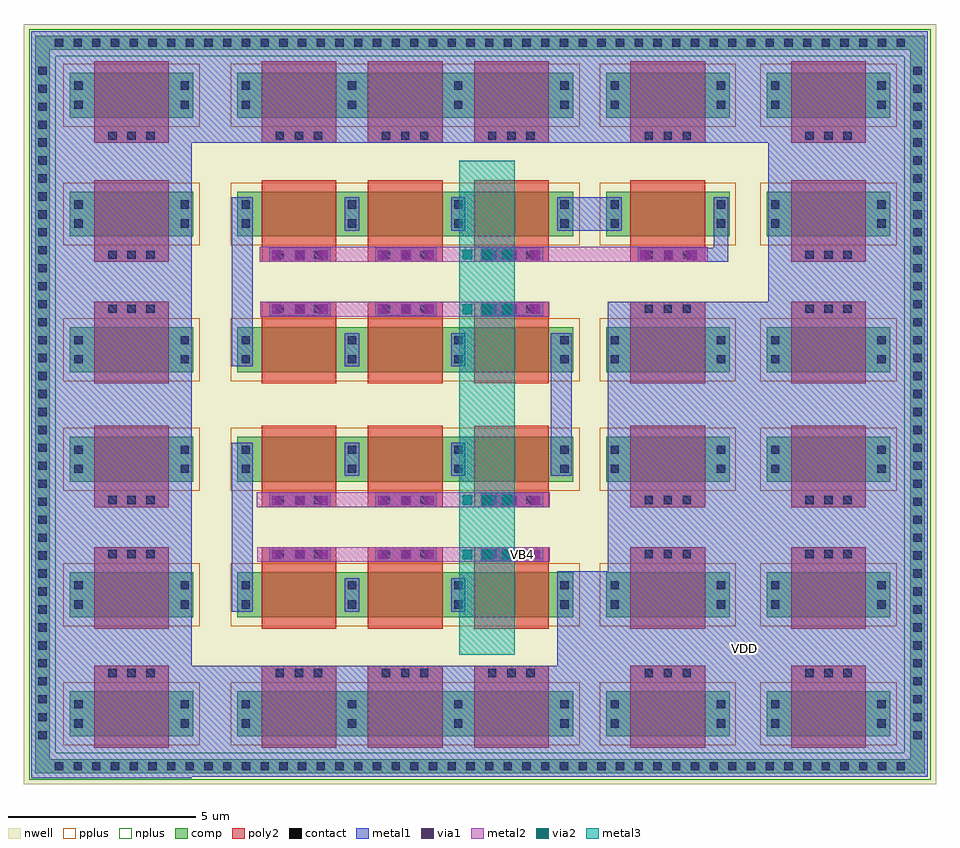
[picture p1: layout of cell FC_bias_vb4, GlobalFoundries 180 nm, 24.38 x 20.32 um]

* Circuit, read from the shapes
.subckt FC_bias_vb4 VB4 VDD
XM1 VDD VDD VDD VDD pfet_03v3 w=1.2u l=2u m=23
XM2 n1 VB4 n2 VDD pfet_03v3 w=1.2u l=2u
XM3 n3 VB4 n2 VDD pfet_03v3 w=1.2u l=2u
XM4 n4 VB4 n5 VDD pfet_03v3 w=1.2u l=2u
XM5 n6 VB4 n5 VDD pfet_03v3 w=1.2u l=2u
XM6 n7 VB4 n1 VDD pfet_03v3 w=1.2u l=2u
XM7 n8 VB4 n3 VDD pfet_03v3 w=1.2u l=2u
XM8 n9 VB4 n4 VDD pfet_03v3 w=1.2u l=2u
XM9 n10 VB4 n6 VDD pfet_03v3 w=1.2u l=2u
XM10 VDD VB4 n7 VDD pfet_03v3 w=1.2u l=2u
XM11 n11 VB4 n8 VDD pfet_03v3 w=1.2u l=2u
XM12 n11 VB4 n9 VDD pfet_03v3 w=1.2u l=2u
XM13 n12 VB4 n10 VDD pfet_03v3 w=1.2u l=2u
XM14 VB4 VB4 n12 VDD pfet_03v3 w=1.2u l=2u
.ends

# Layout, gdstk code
from math import pi, radians
import gdstk
lib = gdstk.Library(unit=1e-6, precision=1e-09)
def R(c, l, rs):  # rectangles x0, y0, x1, y1
    for r in rs: c.add(gdstk.rectangle(r[:2], r[2:], *l))
def A(c, l, x, y, w, h, nx, ny, dx, dy):  # array of equal rectangles
    R(c, l, [(x+i*dx, y+j*dy, x+i*dx+w, y+j*dy+h) for i in range(nx) for j in range(ny)])
nwell = (21, 0)
comp = (22, 0)
poly2 = (30, 0)
pplus = (31, 0)
nplus = (32, 0)
contact = (33, 0)
metal1 = (34, 0)
via1 = (35, 0)
metal2 = (36, 0)
via2 = (38, 0)
metal3 = (42, 0)

pfet_1 = lib.new_cell('pfet$1')
R(pfet_1, nwell, [(-0.9,-0.44,3.28,1.64)])
R(pfet_1, comp, [(-0.46,0,0,1.2), (0,0,2.38,1.2), (2.38,0,2.84,1.2)])
R(pfet_1, poly2, [(0.19,-0.3,2.19,1.5), (0.19,1.5,2.19,1.88)])
R(pfet_1, pplus, [(-0.63,-0.24,3.01,1.44)])
A(pfet_1, contact, 0.57, 1.58, 0.22, 0.22, 3, 1, 0.51, 0)
R(pfet_1, contact, [(-0.34,0.235,-0.12,0.455), (2.5,0.235,2.72,0.455), (-0.34,0.745,-0.12,0.965), (2.5,0.745,2.72,0.965)])
R(pfet_1, metal1, [(-0.42,0.155,-0.04,1.045), (2.42,0.155,2.8,1.045), (0.49,1.5,1.89,1.88)])

fc_bias_vb4 = lib.new_cell('FC_bias_vb4')
R(fc_bias_vb4, nwell, [(-13.68,-2.49,10.7,17.825)])
R(fc_bias_vb4, comp, [(-13.375,-2.205,10.395,-1.825), (-13.375,-2.035,-12.995,17.515), (10.015,-2.035,10.395,17.515), (-13.33,17.135,10.395,17.515)])
R(fc_bias_vb4, nplus, [(-13.545,-2.375,10.565,-1.655), (9.845,-1.935,10.565,17.255), (-13.545,-1.79,-12.825,17.255), (-13.545,16.965,10.565,17.685)])
A(fc_bias_vb4, contact, -12.855, -2.125, 0.22, 0.22, 46, 2, 0.5, 19.34)
A(fc_bias_vb4, contact, -13.295, -1.295, 0.22, 0.22, 1, 38, 0, 0.48)
A(fc_bias_vb4, contact, 10.095, -1.295, 0.22, 0.22, 1, 38, 0, 0.48)
A(fc_bias_vb4, metal1, -7.13, 3.465, 1.65, 0.38, 3, 2, 2.84, 1.445)
A(fc_bias_vb4, metal1, -7.13, 10.02, 1.65, 0.38, 3, 2, 2.84, 1.445)
R(fc_bias_vb4, metal1, [(-13.485,-2.33,-9.195,17.63), (-9.885,-2.295,9.435,0.665), (6.215,-2.295,10.485,16.37), (0.58,0.475,2.165,3.2), (1.92,0.575,6.46,10.4), (-8.125,2.12,-7.56,6.635), (0.405,5.745,0.96,9.565), (-8.125,8.675,-7.56,13.19), (2.73,11.465,4.85,11.845), (4.76,11.465,5.14,12.365), (0.58,12.3,2.18,13.19), (-9.885,14.645,10.485,17.63)])
R(fc_bias_vb4, via1, [(-7.06,3.515,-6.8,3.775), (-7.06,3.515,-6.8,3.775), (-7.06,3.515,-6.8,3.775), (-7.06,3.515,-6.8,3.775), (-7.06,3.515,-6.8,3.775), (-7.06,3.515,-6.8,3.775), (-7.06,3.515,-6.8,3.775), (-7.06,3.515,-6.8,3.775), (-6.44,3.515,-6.18,3.775), (-6.44,3.515,-6.18,3.775), (-6.44,3.515,-6.18,3.775), (-6.44,3.515,-6.18,3.775), (-6.44,3.515,-6.18,3.775), (-6.44,3.515,-6.18,3.775), (-6.44,3.515,-6.18,3.775), (-6.44,3.515,-6.18,3.775), (-5.82,3.515,-5.56,3.775), (-5.82,3.515,-5.56,3.775), (-5.82,3.515,-5.56,3.775), (-5.82,3.515,-5.56,3.775), (-5.82,3.515,-5.56,3.775), (-5.82,3.515,-5.56,3.775), (-5.82,3.515,-5.56,3.775), (-5.82,3.515,-5.56,3.775), (-4.22,3.515,-3.96,3.775), (-4.22,3.515,-3.96,3.775), (-4.22,3.515,-3.96,3.775), (-4.22,3.515,-3.96,3.775), (-4.22,3.515,-3.96,3.775), (-4.22,3.515,-3.96,3.775), (-4.22,3.515,-3.96,3.775), (-4.22,3.515,-3.96,3.775), (-3.6,3.515,-3.34,3.775), (-3.6,3.515,-3.34,3.775), (-3.6,3.515,-3.34,3.775), (-3.6,3.515,-3.34,3.775), (-3.6,3.515,-3.34,3.775), (-3.6,3.515,-3.34,3.775), (-3.6,3.515,-3.34,3.775), (-3.6,3.515,-3.34,3.775), (-2.98,3.515,-2.72,3.775), (-2.98,3.515,-2.72,3.775), (-2.98,3.515,-2.72,3.775), (-2.98,3.515,-2.72,3.775), (-2.98,3.515,-2.72,3.775), (-2.98,3.515,-2.72,3.775), (-2.98,3.515,-2.72,3.775), (-2.98,3.515,-2.72,3.775), (-1.38,3.515,-1.12,3.775), (-1.38,3.515,-1.12,3.775), (-1.38,3.515,-1.12,3.775), (-1.38,3.515,-1.12,3.775), (-1.38,3.515,-1.12,3.775), (-1.38,3.515,-1.12,3.775), (-1.38,3.515,-1.12,3.775), (-1.38,3.515,-1.12,3.775), (-0.76,3.515,-0.5,3.775), (-0.76,3.515,-0.5,3.775), (-0.76,3.515,-0.5,3.775), (-0.76,3.515,-0.5,3.775), (-0.76,3.515,-0.5,3.775), (-0.76,3.515,-0.5,3.775), (-0.76,3.515,-0.5,3.775), (-0.76,3.515,-0.5,3.775), (-0.14,3.515,0.12,3.775), (-0.14,3.515,0.12,3.775), (-0.14,3.515,0.12,3.775), (-0.14,3.515,0.12,3.775), (-0.14,3.515,0.12,3.775), (-0.14,3.515,0.12,3.775), (-0.14,3.515,0.12,3.775), (-0.14,3.515,0.12,3.775), (-7.06,4.96,-6.8,5.22), (-7.06,4.96,-6.8,5.22), (-7.06,4.96,-6.8,5.22), (-7.06,4.96,-6.8,5.22), (-7.06,4.96,-6.8,5.22), (-7.06,4.96,-6.8,5.22), (-7.06,4.96,-6.8,5.22), (-7.06,4.96,-6.8,5.22), (-6.44,4.96,-6.18,5.22), (-6.44,4.96,-6.18,5.22), (-6.44,4.96,-6.18,5.22), (-6.44,4.96,-6.18,5.22), (-6.44,4.96,-6.18,5.22), (-6.44,4.96,-6.18,5.22), (-6.44,4.96,-6.18,5.22), (-6.44,4.96,-6.18,5.22), (-5.82,4.96,-5.56,5.22), (-5.82,4.96,-5.56,5.22), (-5.82,4.96,-5.56,5.22), (-5.82,4.96,-5.56,5.22), (-5.82,4.96,-5.56,5.22), (-5.82,4.96,-5.56,5.22), (-5.82,4.96,-5.56,5.22), (-5.82,4.96,-5.56,5.22), (-4.22,4.96,-3.96,5.22), (-4.22,4.96,-3.96,5.22), (-4.22,4.96,-3.96,5.22), (-4.22,4.96,-3.96,5.22), (-4.22,4.96,-3.96,5.22), (-4.22,4.96,-3.96,5.22), (-4.22,4.96,-3.96,5.22), (-4.22,4.96,-3.96,5.22), (-3.6,4.96,-3.34,5.22), (-3.6,4.96,-3.34,5.22), (-3.6,4.96,-3.34,5.22), (-3.6,4.96,-3.34,5.22), (-3.6,4.96,-3.34,5.22), (-3.6,4.96,-3.34,5.22), (-3.6,4.96,-3.34,5.22), (-3.6,4.96,-3.34,5.22), (-2.98,4.96,-2.72,5.22), (-2.98,4.96,-2.72,5.22), (-2.98,4.96,-2.72,5.22), (-2.98,4.96,-2.72,5.22), (-2.98,4.96,-2.72,5.22), (-2.98,4.96,-2.72,5.22), (-2.98,4.96,-2.72,5.22), (-2.98,4.96,-2.72,5.22), (-1.38,4.96,-1.12,5.22), (-1.38,4.96,-1.12,5.22), (-1.38,4.96,-1.12,5.22), (-1.38,4.96,-1.12,5.22), (-1.38,4.96,-1.12,5.22), (-1.38,4.96,-1.12,5.22), (-1.38,4.96,-1.12,5.22), (-1.38,4.96,-1.12,5.22), (-0.76,4.96,-0.5,5.22), (-0.76,4.96,-0.5,5.22), (-0.76,4.96,-0.5,5.22), (-0.76,4.96,-0.5,5.22), (-0.76,4.96,-0.5,5.22), (-0.76,4.96,-0.5,5.22), (-0.76,4.96,-0.5,5.22), (-0.76,4.96,-0.5,5.22), (-0.14,4.96,0.12,5.22), (-0.14,4.96,0.12,5.22), (-0.14,4.96,0.12,5.22), (-0.14,4.96,0.12,5.22), (-0.14,4.96,0.12,5.22), (-0.14,4.96,0.12,5.22), (-0.14,4.96,0.12,5.22), (-0.14,4.96,0.12,5.22), (-7.06,10.07,-6.8,10.33), (-7.06,10.07,-6.8,10.33), (-7.06,10.07,-6.8,10.33), (-7.06,10.07,-6.8,10.33), (-7.06,10.07,-6.8,10.33), (-7.06,10.07,-6.8,10.33), (-7.06,10.07,-6.8,10.33), (-7.06,10.07,-6.8,10.33), (-6.44,10.07,-6.18,10.33), (-6.44,10.07,-6.18,10.33), (-6.44,10.07,-6.18,10.33), (-6.44,10.07,-6.18,10.33), (-6.44,10.07,-6.18,10.33), (-6.44,10.07,-6.18,10.33), (-6.44,10.07,-6.18,10.33), (-6.44,10.07,-6.18,10.33), (-5.82,10.07,-5.56,10.33), (-5.82,10.07,-5.56,10.33), (-5.82,10.07,-5.56,10.33), (-5.82,10.07,-5.56,10.33), (-5.82,10.07,-5.56,10.33), (-5.82,10.07,-5.56,10.33), (-5.82,10.07,-5.56,10.33), (-5.82,10.07,-5.56,10.33), (-4.22,10.07,-3.96,10.33), (-4.22,10.07,-3.96,10.33), (-4.22,10.07,-3.96,10.33), (-4.22,10.07,-3.96,10.33), (-4.22,10.07,-3.96,10.33), (-4.22,10.07,-3.96,10.33), (-4.22,10.07,-3.96,10.33), (-4.22,10.07,-3.96,10.33), (-3.6,10.07,-3.34,10.33), (-3.6,10.07,-3.34,10.33), (-3.6,10.07,-3.34,10.33), (-3.6,10.07,-3.34,10.33), (-3.6,10.07,-3.34,10.33), (-3.6,10.07,-3.34,10.33), (-3.6,10.07,-3.34,10.33), (-3.6,10.07,-3.34,10.33), (-2.98,10.07,-2.72,10.33), (-2.98,10.07,-2.72,10.33), (-2.98,10.07,-2.72,10.33), (-2.98,10.07,-2.72,10.33), (-2.98,10.07,-2.72,10.33), (-2.98,10.07,-2.72,10.33), (-2.98,10.07,-2.72,10.33), (-2.98,10.07,-2.72,10.33), (-1.38,10.07,-1.12,10.33), (-1.38,10.07,-1.12,10.33), (-1.38,10.07,-1.12,10.33), (-1.38,10.07,-1.12,10.33), (-1.38,10.07,-1.12,10.33), (-1.38,10.07,-1.12,10.33), (-1.38,10.07,-1.12,10.33), (-1.38,10.07,-1.12,10.33), (-0.76,10.07,-0.5,10.33), (-0.76,10.07,-0.5,10.33), (-0.76,10.07,-0.5,10.33), (-0.76,10.07,-0.5,10.33), (-0.76,10.07,-0.5,10.33), (-0.76,10.07,-0.5,10.33), (-0.76,10.07,-0.5,10.33), (-0.76,10.07,-0.5,10.33), (-0.14,10.07,0.12,10.33), (-0.14,10.07,0.12,10.33), (-0.14,10.07,0.12,10.33), (-0.14,10.07,0.12,10.33), (-0.14,10.07,0.12,10.33), (-0.14,10.07,0.12,10.33), (-0.14,10.07,0.12,10.33), (-0.14,10.07,0.12,10.33), (-7.06,11.515,-6.8,11.775), (-7.06,11.515,-6.8,11.775), (-7.06,11.515,-6.8,11.775), (-7.06,11.515,-6.8,11.775), (-7.06,11.515,-6.8,11.775), (-7.06,11.515,-6.8,11.775), (-7.06,11.515,-6.8,11.775), (-7.06,11.515,-6.8,11.775), (-6.44,11.515,-6.18,11.775), (-6.44,11.515,-6.18,11.775), (-6.44,11.515,-6.18,11.775), (-6.44,11.515,-6.18,11.775), (-6.44,11.515,-6.18,11.775), (-6.44,11.515,-6.18,11.775), (-6.44,11.515,-6.18,11.775), (-6.44,11.515,-6.18,11.775), (-5.82,11.515,-5.56,11.775), (-5.82,11.515,-5.56,11.775), (-5.82,11.515,-5.56,11.775), (-5.82,11.515,-5.56,11.775), (-5.82,11.515,-5.56,11.775), (-5.82,11.515,-5.56,11.775), (-5.82,11.515,-5.56,11.775), (-5.82,11.515,-5.56,11.775), (-4.22,11.515,-3.96,11.775), (-4.22,11.515,-3.96,11.775), (-4.22,11.515,-3.96,11.775), (-4.22,11.515,-3.96,11.775), (-4.22,11.515,-3.96,11.775), (-4.22,11.515,-3.96,11.775), (-4.22,11.515,-3.96,11.775), (-4.22,11.515,-3.96,11.775), (-3.6,11.515,-3.34,11.775), (-3.6,11.515,-3.34,11.775), (-3.6,11.515,-3.34,11.775), (-3.6,11.515,-3.34,11.775), (-3.6,11.515,-3.34,11.775), (-3.6,11.515,-3.34,11.775), (-3.6,11.515,-3.34,11.775), (-3.6,11.515,-3.34,11.775), (-2.98,11.515,-2.72,11.775), (-2.98,11.515,-2.72,11.775), (-2.98,11.515,-2.72,11.775), (-2.98,11.515,-2.72,11.775), (-2.98,11.515,-2.72,11.775), (-2.98,11.515,-2.72,11.775), (-2.98,11.515,-2.72,11.775), (-2.98,11.515,-2.72,11.775), (-1.38,11.515,-1.12,11.775), (-1.38,11.515,-1.12,11.775), (-1.38,11.515,-1.12,11.775), (-1.38,11.515,-1.12,11.775), (-1.38,11.515,-1.12,11.775), (-1.38,11.515,-1.12,11.775), (-1.38,11.515,-1.12,11.775), (-1.38,11.515,-1.12,11.775), (-0.76,11.515,-0.5,11.775), (-0.76,11.515,-0.5,11.775), (-0.76,11.515,-0.5,11.775), (-0.76,11.515,-0.5,11.775), (-0.76,11.515,-0.5,11.775), (-0.76,11.515,-0.5,11.775), (-0.76,11.515,-0.5,11.775), (-0.76,11.515,-0.5,11.775), (-0.14,11.515,0.12,11.775), (-0.14,11.515,0.12,11.775), (-0.14,11.515,0.12,11.775), (-0.14,11.515,0.12,11.775), (-0.14,11.515,0.12,11.775), (-0.14,11.515,0.12,11.775), (-0.14,11.515,0.12,11.775), (-0.14,11.515,0.12,11.775), (2.8,11.515,3.06,11.775), (2.8,11.515,3.06,11.775), (2.8,11.515,3.06,11.775), (2.8,11.515,3.06,11.775), (2.8,11.515,3.06,11.775), (2.8,11.515,3.06,11.775), (2.8,11.515,3.06,11.775), (2.8,11.515,3.06,11.775), (3.42,11.515,3.68,11.775), (3.42,11.515,3.68,11.775), (3.42,11.515,3.68,11.775), (3.42,11.515,3.68,11.775), (3.42,11.515,3.68,11.775), (3.42,11.515,3.68,11.775), (3.42,11.515,3.68,11.775), (3.42,11.515,3.68,11.775), (4.04,11.515,4.3,11.775), (4.04,11.515,4.3,11.775), (4.04,11.515,4.3,11.775), (4.04,11.515,4.3,11.775), (4.04,11.515,4.3,11.775), (4.04,11.515,4.3,11.775), (4.04,11.515,4.3,11.775), (4.04,11.515,4.3,11.775)])
R(fc_bias_vb4, metal2, [(-7.445,3.445,0.37,3.845), (-7.455,4.91,0.37,5.31), (-7.37,10,0.36,10.4), (-7.38,11.465,4.595,11.865)])
R(fc_bias_vb4, via2, [(-1.955,3.515,-1.695,3.775), (-1.955,3.515,-1.695,3.775), (-1.425,3.515,-1.165,3.775), (-1.425,3.515,-1.165,3.775), (-0.895,3.515,-0.635,3.775), (-0.895,3.515,-0.635,3.775), (-1.955,4.975,-1.695,5.235), (-1.955,4.975,-1.695,5.235), (-1.425,4.975,-1.165,5.235), (-1.425,4.975,-1.165,5.235), (-0.895,4.975,-0.635,5.235), (-0.895,4.975,-0.635,5.235), (-1.955,10.07,-1.695,10.33), (-1.955,10.07,-1.695,10.33), (-1.425,10.07,-1.165,10.33), (-1.425,10.07,-1.165,10.33), (-0.895,10.07,-0.635,10.33), (-0.895,10.07,-0.635,10.33), (-1.955,11.535,-1.695,11.795), (-1.955,11.535,-1.695,11.795), (-1.425,11.535,-1.165,11.795), (-1.425,11.535,-1.165,11.795), (-0.895,11.535,-0.635,11.795), (-0.895,11.535,-0.635,11.795)])
R(fc_bias_vb4, metal3, [(-2.04,0.97,-0.56,14.17)])
fc_bias_vb4.add(gdstk.Reference(pfet_1, (-7.52,1.965)))
fc_bias_vb4.add(gdstk.Reference(pfet_1, (-4.68,1.965)))
fc_bias_vb4.add(gdstk.Reference(pfet_1, (-1.84,1.965)))
fc_bias_vb4.add(gdstk.Reference(pfet_1, (-7.52,8.52)))
fc_bias_vb4.add(gdstk.Reference(pfet_1, (-4.68,8.52)))
fc_bias_vb4.add(gdstk.Reference(pfet_1, (-1.84,8.52)))
fc_bias_vb4.add(gdstk.Reference(pfet_1, (0.54,13.345), rotation=pi))
fc_bias_vb4.add(gdstk.Reference(pfet_1, (-2.3,13.345), rotation=pi))
fc_bias_vb4.add(gdstk.Reference(pfet_1, (-5.14,13.345), rotation=pi))
fc_bias_vb4.add(gdstk.Reference(pfet_1, (-2.3,6.79), rotation=pi))
fc_bias_vb4.add(gdstk.Reference(pfet_1, (-5.14,6.79), rotation=pi))
fc_bias_vb4.add(gdstk.Reference(pfet_1, (2.34,1.965)))
fc_bias_vb4.add(gdstk.Reference(pfet_1, (0.54,6.79), rotation=pi))
fc_bias_vb4.add(gdstk.Reference(pfet_1, (4.72,6.79), rotation=pi))
fc_bias_vb4.add(gdstk.Reference(pfet_1, (2.34,8.52)))
fc_bias_vb4.add(gdstk.Reference(pfet_1, (4.72,13.345), rotation=pi))
fc_bias_vb4.add(gdstk.Reference(pfet_1, (-11.995,1.965)))
fc_bias_vb4.add(gdstk.Reference(pfet_1, (-11.995,8.52)))
fc_bias_vb4.add(gdstk.Reference(pfet_1, (-9.615,13.345), rotation=pi))
fc_bias_vb4.add(gdstk.Reference(pfet_1, (-9.615,6.79), rotation=pi))
fc_bias_vb4.add(gdstk.Reference(pfet_1, (6.635,1.965)))
fc_bias_vb4.add(gdstk.Reference(pfet_1, (6.635,8.52)))
fc_bias_vb4.add(gdstk.Reference(pfet_1, (9.015,13.345), rotation=pi))
fc_bias_vb4.add(gdstk.Reference(pfet_1, (9.015,6.79), rotation=pi))
fc_bias_vb4.add(gdstk.Reference(pfet_1, (0.54,16.525), rotation=pi))
fc_bias_vb4.add(gdstk.Reference(pfet_1, (-2.3,16.525), rotation=pi))
fc_bias_vb4.add(gdstk.Reference(pfet_1, (-5.14,16.525), rotation=pi))
fc_bias_vb4.add(gdstk.Reference(pfet_1, (4.72,16.525), rotation=pi))
fc_bias_vb4.add(gdstk.Reference(pfet_1, (-9.615,16.525), rotation=pi))
fc_bias_vb4.add(gdstk.Reference(pfet_1, (9.015,16.525), rotation=pi))
fc_bias_vb4.add(gdstk.Reference(pfet_1, (-7.52,-1.215)))
fc_bias_vb4.add(gdstk.Reference(pfet_1, (-4.68,-1.215)))
fc_bias_vb4.add(gdstk.Reference(pfet_1, (-1.84,-1.215)))
fc_bias_vb4.add(gdstk.Reference(pfet_1, (2.34,-1.215)))
fc_bias_vb4.add(gdstk.Reference(pfet_1, (-11.995,-1.215)))
fc_bias_vb4.add(gdstk.Reference(pfet_1, (6.635,-1.215)))
fc_bias_vb4.add(gdstk.Label('VDD', (5.59,1.14), layer=34, texttype=10))
fc_bias_vb4.add(gdstk.Label('VB4', (-0.365,3.655), layer=34, texttype=10))

lib.write_gds('FC_bias_vb4.gds')
